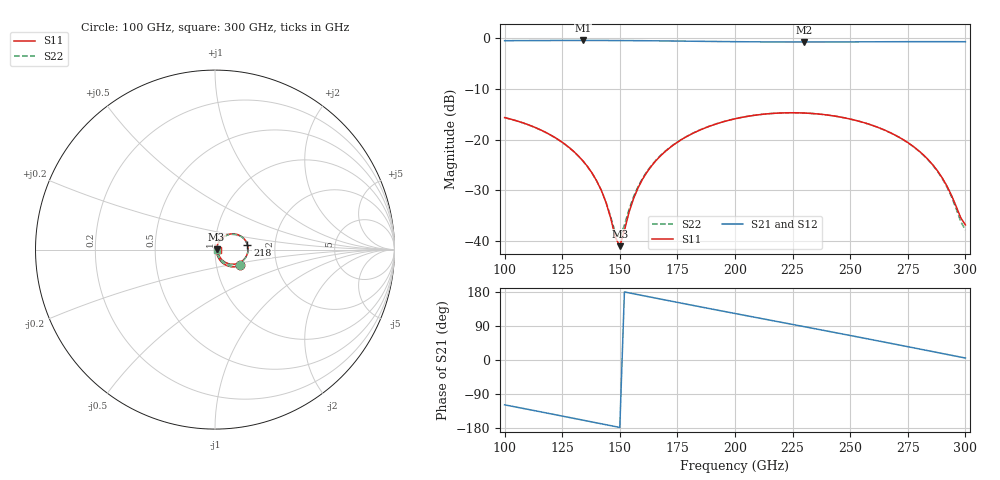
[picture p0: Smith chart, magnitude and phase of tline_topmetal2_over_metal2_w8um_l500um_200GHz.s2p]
#  GHZ S DB R 50
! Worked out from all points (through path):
!   101 points, 100 GHz to 300 GHz, reference 50 ohm
!   highest |S21| = -0.41 dB at 134 GHz (marker M1); lowest = -0.7 dB at 230 GHz (marker M2)
!   group delay of S21, straight-line fit = 3.27 ps
!   lowest |S11| = -41.1 dB at 150 GHz (marker M3), VSWR 1.02, Z = 50.9 + j0.1 ohm
!   |S11| at or under -10 dB: start of sweep to end of sweep
!   |S22| runs from -39.4 to -14.7 dB; largest |S21 - S12| = 1.1e-14
!   S11 on the Smith chart (normalised r, x): 100 GHz: 1.30, -0.24; 218 GHz: 1.44, +0.08; 300 GHz: 1.03, -0.00
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100  -15.65 -32.2  -0.45 -118.3  -0.45 -118.3  -15.67 -32.0
120  -19.09 -53.2  -0.42 -142.0  -0.42 -142.0  -19.12 -52.7
134  -24.21 -65.6  -0.41 -158.8  -0.41 -158.8  -24.24 -64.2
142  -30.06 -66.7  -0.42 -168.4  -0.42 -168.4  -30.05 -63.7
146  -35.44 -56.3  -0.42 -173.2  -0.42 -173.2  -35.17 -50.8
148  -39.21 -36.7  -0.43 -175.6  -0.43 -175.6  -38.33 -30.0
150  -41.05 6.4  -0.43 -178.0  -0.43 -178.0  -39.44 7.5
154  -34.37 56.0  -0.44 177.2  -0.44 177.2  -33.80 52.0
158  -29.46 63.7  -0.45 172.4  -0.45 172.4  -29.21 60.8
162  -26.29 63.8  -0.47 167.6  -0.47 167.6  -26.14 61.6
168  -23.07 60.3  -0.49 160.4  -0.49 160.4  -22.98 58.6
182  -18.70 47.4  -0.57 143.8  -0.57 143.8  -18.66 46.3
200  -15.89 28.5  -0.65 122.7  -0.65 122.7  -15.87 27.6
218  -14.78 8.9  -0.70 101.9  -0.70 101.9  -14.77 8.1
230  -14.75 -4.2  -0.71 88.0  -0.71 88.0  -14.74 -5.0
234  -14.86 -8.5  -0.71 83.4  -0.71 83.4  -14.85 -9.3
250  -15.94 -25.7  -0.69 64.7  -0.69 64.7  -15.94 -26.6
268  -18.76 -44.1  -0.66 43.5  -0.66 43.5  -18.78 -45.2
278  -21.56 -52.8  -0.65 31.5  -0.65 31.5  -21.60 -54.2
286  -25.07 -57.0  -0.65 22.0  -0.65 22.0  -25.14 -58.8
292  -29.18 -54.5  -0.65 14.8  -0.65 14.8  -29.37 -57.1
300  -36.86 -3.5  -0.66 5.2  -0.66 5.2  -37.87 -3.7
